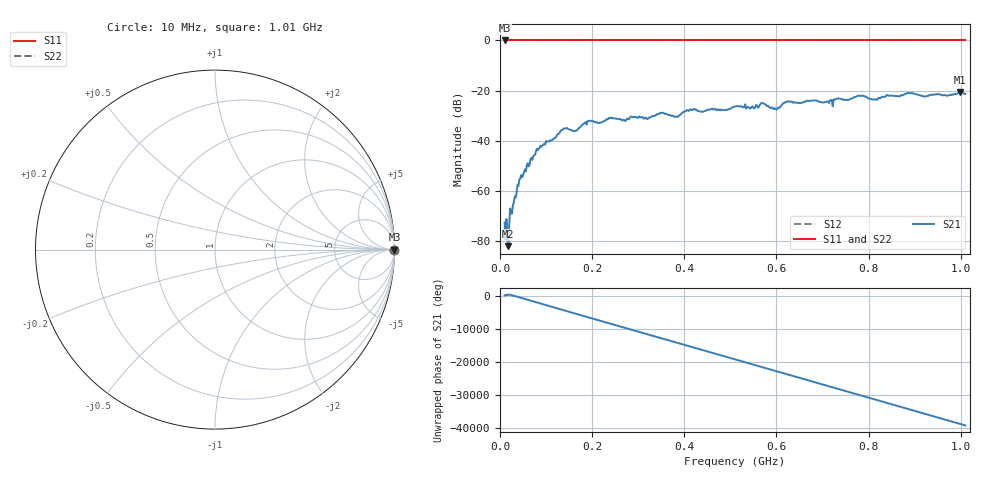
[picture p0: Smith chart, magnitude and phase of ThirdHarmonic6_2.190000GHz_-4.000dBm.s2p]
! 8/17/2025 2:06:34 AM
! C:\ANRITSUVNA\TEMP\TEMP.S2P
! CHANNEL.1
! TR.MEASUREMENT
! RAW.DATA
! RF.CORRECTION.OFF
! AVERAGING.OFF
! IF.BANDWIDTH: 5KHZ
! SWEEPTYPE:  FREQ.SWEEP(Linear)
! Reference Plane Port Info
! PORT:  PORT1  PORT2
! DISTANCE:  0  m  0  m
! TIME:  0  s  0  s
! PHASE.OFFSET:  0  deg.  0  deg.
! LOSS:  0  dB  0  dB
! REF.LOSS:  0  dB  0  dB
! REF.FREQ:  0  Hz  0  Hz
! Power Info
! POWER:  -20  dBm  -20  dBm
! EFF.POWER:  -20  dBm  -20  dBm
! SOURCE.ATTEN:  0  dB  0  dB
! TEST.ATTEN:  0  dB  0  dB
# GHZ S RI R 50.0
! FREQ.GHZ  S11RE  S11IM  S21RE  S21IM  S12RE  S12IM  S22RE  S22IM
!; PortSelection: Port_12
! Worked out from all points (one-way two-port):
!   501 points, 10 MHz to 1.01 GHz, reference 50 ohm
!   highest |S21| = -20.61 dB at 998 MHz (marker M1); lowest = -82.2 dB at 18 MHz (marker M2)
!   lowest |S11| = 0.0 dB at 10 MHz (marker M3)
!   |S11| at or under -10 dB: nowhere
!   |S22| runs from 0.0 to 0.0 dB; largest |S21 - S12| = 1.1
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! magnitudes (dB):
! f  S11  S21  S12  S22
! 10 MHz  0.0  -72.8  0.0  0.0
! 16 MHz  0.0  -78.9  0.0  0.0
! 18 MHz  0.0  -82.2  0.0  0.0
! 42 MHz  0.0  -55.5  0.0  0.0
! 82 MHz  0.0  -43.8  0.0  0.0
! 136 MHz  0.0  -35.6  0.0  0.0
! 162 MHz  0.0  -36.2  0.0  0.0
! 178 MHz  0.0  -33.7  0.0  0.0
! 194 MHz  0.0  -32.1  0.0  0.0
! 316 MHz  0.0  -30.9  0.0  0.0
! 344 MHz  0.0  -29.5  0.0  0.0
! 382 MHz  0.0  -30.5  0.0  0.0
! 416 MHz  0.0  -27.8  0.0  0.0
! 510 MHz  0.0  -26.4  0.0  0.0
! 570 MHz  0.0  -25.0  0.0  0.0
! 596 MHz  0.0  -27.0  0.0  0.0
! 624 MHz  0.0  -24.4  0.0  0.0
! 678 MHz  0.0  -24.0  0.0  0.0
! 814 MHz  0.0  -23.5  0.0  0.0
! 844 MHz  0.0  -22.1  0.0  0.0
! 998 MHz  0.0  -20.6  0.0  0.0
! 1.01 GHz  0.0  -21.3  0.0  0.0
